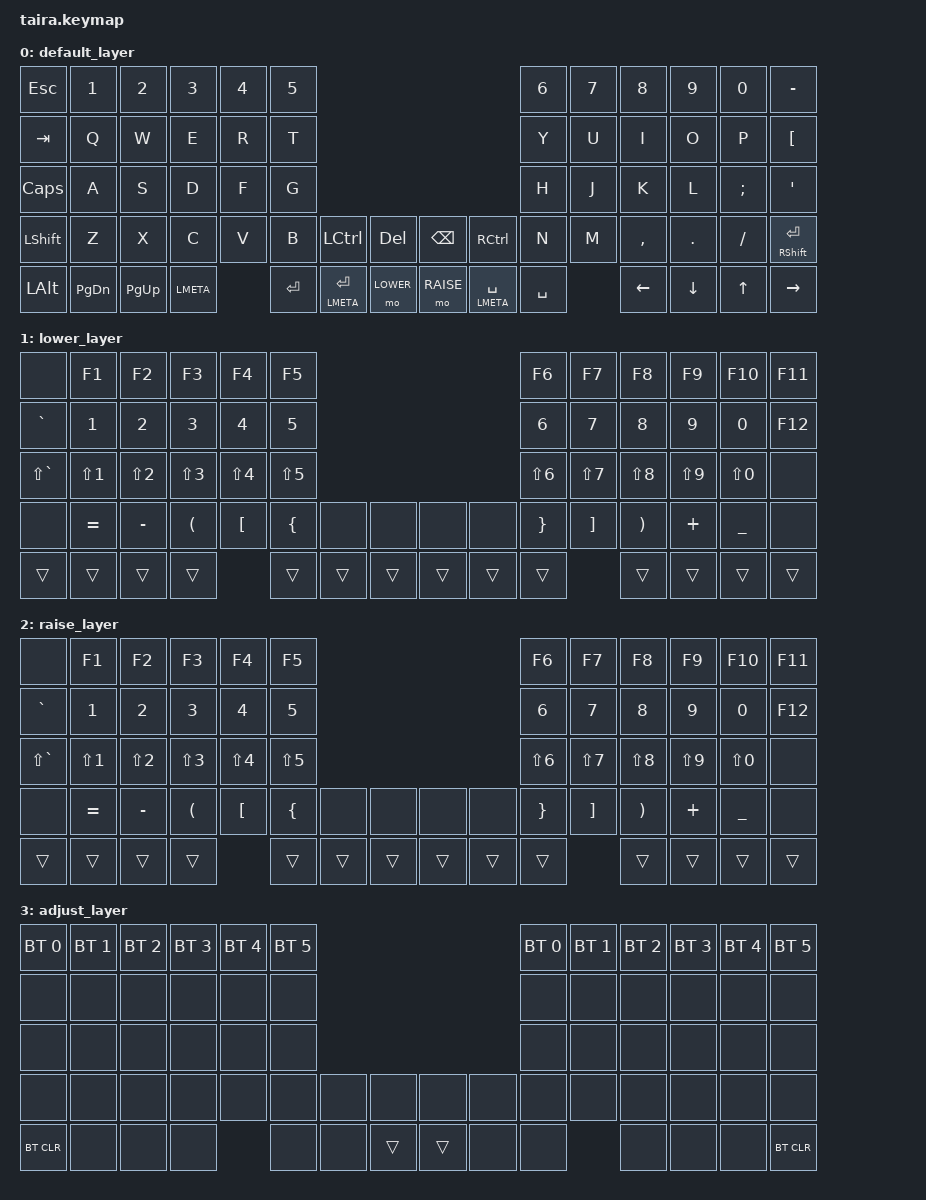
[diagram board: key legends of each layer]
/*
 * Copyright (c) 2020 The ZMK Contributors
 *
 * SPDX-License-Identifier: MIT
 */

#include <behaviors.dtsi>
#include <dt-bindings/zmk/keys.h>
#include <dt-bindings/zmk/outputs.h>
#include <dt-bindings/zmk/bt.h>

#define DEFAULT 0
#define LOWER   1
#define RAISE   2
#define ADJUST  3

/ {

        conditional_layers {
                compatible = "zmk,conditional-layers";

                tri_layer {
                        if-layers  = <1 2>;
                        then-layer = <3>;
                };
        };
    behaviors {
        // This is mod-tap with the "balanced" flavor.
        // Improves the '&mt RCTRL SPACE' behavior when typing quickly.
        bmt: balanced_mod_tap {
                compatible = "zmk,behavior-hold-tap";
                label = "MOD_TAP";
                #binding-cells = <2>;
                flavor = "balanced";
                tapping-term-ms = <200>;
                bindings = <&kp>, <&kp>;
        };
    };

        keymap {
                compatible = "zmk,keymap";

                default_layer {
                        bindings = <
// +-----------+----------+-----------+-----------+----------+--------+                                                             +--------+----------+-----------+----------+-------------+----------------+
// |           |          |           |           |          |        |                                                             |        |          |           |          |             |                |
   &kp  ESC    &kp  N1    &kp  N2     &kp  N3     &kp  N4    &kp  N5                                                                &kp  N6  &kp  N7    &kp  N8     &kp  N9    &kp  N0       &kp  MINUS
   &kp  TAB    &kp  Q     &kp  W      &kp  E      &kp  R     &kp  T                                                                 &kp  Y   &kp  U     &kp  I      &kp  O     &kp  P        &kp  LEFT_BRACKET
   &kp  CAPS   &kp  A     &kp  S      &kp  D      &kp  F     &kp  G    /*-------------+-------------+  +-------------+-----------*/ &kp  H   &kp  J     &kp  K      &kp  L     &kp  SEMI     &kp  SQT
   &kp  LSHFT  &kp  Z     &kp  X      &kp  C      &kp  V     &kp  B    &kp  LCTRL     &kp  DEL         &kp  BSPC     &kp  RCTRL     &kp  N   &kp  M     &kp  COMMA  &kp  DOT   &kp  SLASH    &mt  RSHFT ENTER
   &kp  LALT   &kp PG_DN  &kp  PG_UP  &kp  LMETA             &kp RET   &bmt LMETA RET &mo  LOWER       &mo  RAISE    &bmt LMETA SPC &kp SPC             &kp  LEFT   &kp  DOWN  &kp  UP       &kp  RIGHT
// |           |          |           |                      |         |              |             |  |             |              |                   |           |          |             |                 |
// +-----------+----------+-----------+----------------------+---------+--------------+-------------+  +-------------+--------------+-------------------+-----------+----------+-------------+-----------------+
                        >;
                };

                lower_layer {
                        bindings = <
&none          &kp  F1      &kp  F2      &kp  F3     &kp  F4     &kp  F5                                                                        &kp  F6    &kp  F7    &kp  F8     &kp  F9    &kp  F10      &kp  F11
&kp  GRAVE     &kp  N1      &kp  N2      &kp  N3     &kp  N4     &kp  N5                                                                        &kp  N6    &kp  N7    &kp  N8     &kp  N9    &kp  N0       &kp  F12
&kp  LS(GRAVE) &kp LS(N1)   &kp  LS(N2)  &kp  LS(N3) &kp  LS(N4) &kp  LS(N5)                                                                    &kp LS(N6) &kp LS(N7) &kp LS(N8)  &kp LS(N9) &kp  LS(N0)   &none
&none          &kp EQUAL    &kp MINUS    &kp  LPAR   &kp  LBKT   &kp  LBRC          &none       &none         &none       &none                 &kp RBRC   &kp RBKT   &kp RPAR    &kp PLUS   &kp  UNDER    &none
&trans         &trans       &trans       &trans                           &trans    &trans      &trans        &trans      &trans    &trans                            &trans      &trans     &trans        &trans
                        >;
                };

                raise_layer {
                        bindings = <
&none          &kp  F1      &kp  F2      &kp  F3     &kp  F4     &kp  F5                                                                        &kp  F6    &kp  F7    &kp  F8     &kp  F9    &kp  F10      &kp  F11
&kp  GRAVE     &kp  N1      &kp  N2      &kp  N3     &kp  N4     &kp  N5                                                                        &kp  N6    &kp  N7    &kp  N8     &kp  N9    &kp  N0       &kp  F12
&kp  LS(GRAVE) &kp LS(N1)   &kp  LS(N2)  &kp  LS(N3) &kp  LS(N4) &kp  LS(N5)                                                                    &kp LS(N6) &kp LS(N7) &kp LS(N8)  &kp LS(N9) &kp  LS(N0)   &none
&none          &kp EQUAL    &kp MINUS    &kp  LPAR   &kp  LBKT   &kp  LBRC          &none       &none         &none       &none                 &kp RBRC   &kp RBKT   &kp RPAR    &kp PLUS   &kp  UNDER    &none
&trans         &trans       &trans       &trans                           &trans    &trans      &trans        &trans      &trans    &trans                            &trans      &trans     &trans        &trans
                        >;
                };

                adjust_layer {
                        bindings = <
&bt BT_SEL 0 &bt BT_SEL 1 &bt BT_SEL 2 &bt BT_SEL 3 &bt BT_SEL 4 &bt BT_SEL 5                                                                          &bt BT_SEL 0 &bt BT_SEL 1 &bt BT_SEL 2 &bt BT_SEL 3 &bt BT_SEL 4 &bt BT_SEL 5
&none        &none        &none        &none        &none        &none                                                                                 &none        &none        &none        &none        &none        &none
&none        &none        &none        &none        &none        &none                                                                                 &none        &none        &none        &none        &none        &none
&none        &none        &none        &none        &none        &none                     &none       &none         &none       &none                 &none        &none        &none        &none        &none        &none
&bt BT_CLR   &none        &none        &none                                     &none     &none       &trans        &trans      &none     &none                                 &none        &none        &none        &bt BT_CLR
                        >;
                };
        };
};
